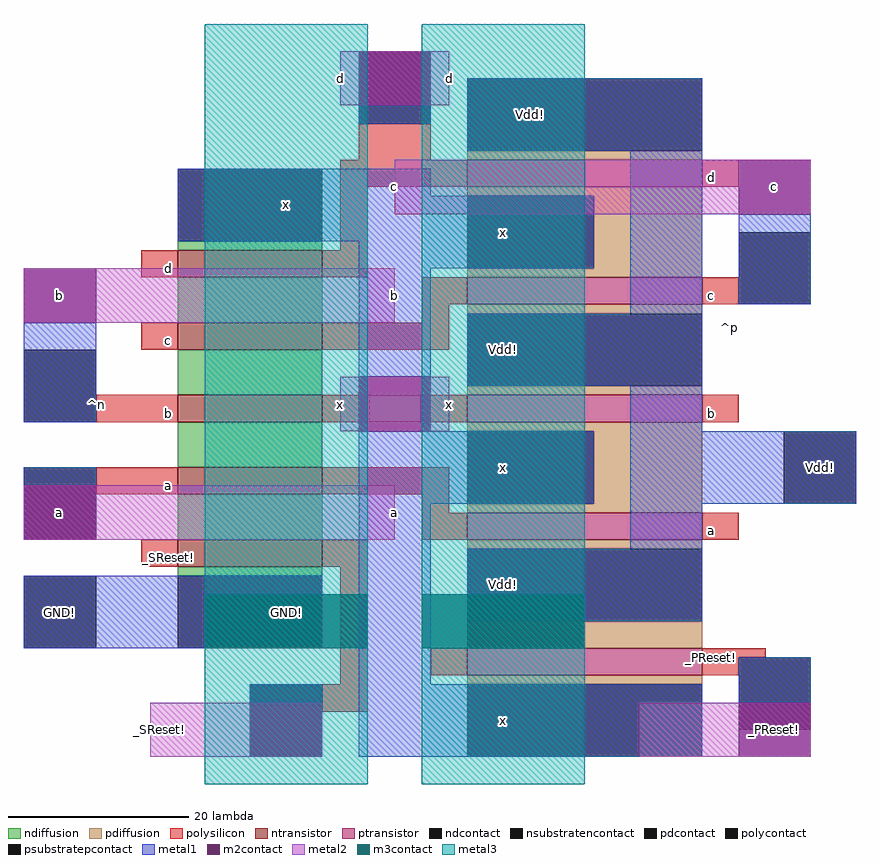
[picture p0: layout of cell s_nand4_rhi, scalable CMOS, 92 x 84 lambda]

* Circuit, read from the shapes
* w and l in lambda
.subckt s_nand4_rhi GND! Vdd! _PReset! _SReset! a b c d x
M1 n1 _SReset! GND! GND! nfet w=16 l=3
M2 n2 a n1 GND! nfet w=16 l=3
M3 n3 b n2 GND! nfet w=16 l=3
M4 n4 c n3 GND! nfet w=16 l=3
M5 x d n4 GND! nfet w=16 l=3
M6 Vdd! _PReset! x Vdd! pfet w=26 l=3
M7 x a Vdd! Vdd! pfet w=26 l=3
M8 Vdd! b x Vdd! pfet w=26 l=3
M9 x c Vdd! Vdd! pfet w=26 l=3
M10 Vdd! d x Vdd! pfet w=26 l=3
.ends

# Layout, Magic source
magic
tech scmos
<< ndiffusion >>
rect -24 76 -8 77
rect -24 68 -8 73
rect -24 60 -8 65
rect -24 52 -8 57
rect -24 44 -8 49
rect -24 40 -8 41
<< pdiffusion >>
rect 8 86 34 87
rect 8 82 34 83
rect 22 74 34 82
rect 8 73 34 74
rect 8 69 34 70
rect 8 60 34 61
rect 8 56 34 57
rect 22 48 34 56
rect 8 47 34 48
rect 8 43 34 44
rect 8 32 34 35
rect 8 28 34 29
<< ntransistor >>
rect -24 73 -8 76
rect -24 65 -8 68
rect -24 57 -8 60
rect -24 49 -8 52
rect -24 41 -8 44
<< ptransistor >>
rect 8 83 34 86
rect 8 70 34 73
rect 8 57 34 60
rect 8 44 34 47
rect 8 29 34 32
<< polysilicon >>
rect -4 86 4 90
rect -6 83 8 86
rect 34 83 38 86
rect -6 76 -3 83
rect -28 73 -24 76
rect -8 73 -3 76
rect 3 70 8 73
rect 34 70 38 73
rect 3 68 6 70
rect -28 65 -24 68
rect -8 65 6 68
rect -33 57 -24 60
rect -8 57 8 60
rect 34 57 38 60
rect -33 49 -24 52
rect -8 49 6 52
rect 3 47 6 49
rect 3 44 8 47
rect 34 44 38 47
rect -28 41 -24 44
rect -8 41 -3 44
rect -6 28 -3 41
rect 4 29 8 32
rect 34 31 41 32
rect 34 29 38 31
rect -8 25 -3 28
<< ndcontact >>
rect -24 77 -8 85
rect -24 32 -8 40
<< pdcontact >>
rect 8 87 34 95
rect 8 74 22 82
rect 8 61 34 69
rect 8 48 22 56
rect 8 35 34 43
rect 8 20 34 28
<< psubstratepcontact >>
rect -41 32 -33 40
<< nsubstratencontact >>
rect 43 48 51 56
<< polycontact >>
rect -4 90 4 98
rect 38 70 46 78
rect -41 57 -33 65
rect -41 44 -33 52
rect -16 20 -8 28
rect 38 23 46 31
<< metal1 >>
rect -4 90 4 92
rect 8 87 34 95
rect -24 82 4 85
rect -24 77 22 82
rect -4 74 22 77
rect -41 57 -33 68
rect -4 62 4 74
rect 26 69 34 87
rect 38 70 46 80
rect 8 61 34 69
rect 26 56 34 61
rect -41 50 -33 52
rect -4 48 22 56
rect 26 48 51 56
rect -41 38 -8 40
rect -41 32 -21 38
rect -4 28 4 48
rect 26 43 34 48
rect 8 38 34 43
rect 21 35 34 38
rect -16 26 -8 28
rect -4 20 34 28
rect 38 26 46 31
<< m2contact >>
rect -4 92 4 98
rect -41 68 -33 74
rect 38 80 46 86
rect -4 56 4 62
rect -41 44 -33 50
rect -21 32 -8 38
rect 8 32 21 38
rect -16 20 -8 26
rect 38 20 46 26
<< metal2 >>
rect -6 92 6 98
rect 0 80 46 86
rect -41 68 0 74
rect -6 56 6 62
rect -41 44 0 50
rect -27 20 -8 26
rect 27 20 46 26
<< m3contact >>
rect -21 32 -3 38
rect 3 32 21 38
<< metal3 >>
rect -21 17 -3 101
rect 3 17 21 101
<< labels >>
rlabel metal1 12 24 12 24 1 x
rlabel metal1 -12 81 -12 81 1 x
rlabel metal1 12 52 12 52 1 x
rlabel metal1 12 78 12 78 5 x
rlabel m2contact -12 36 -12 36 1 GND!
rlabel metal1 12 39 12 39 1 Vdd!
rlabel metal1 12 65 12 65 5 Vdd!
rlabel polysilicon -25 50 -25 50 3 a
rlabel polysilicon -25 58 -25 58 3 b
rlabel polysilicon -25 66 -25 66 3 c
rlabel polysilicon -25 74 -25 74 3 d
rlabel polysilicon -25 42 -25 42 3 _SReset!
rlabel space -42 31 -24 87 7 ^n
rlabel metal1 15 91 15 91 1 Vdd!
rlabel polysilicon 35 31 35 31 1 _PReset!
rlabel polysilicon 35 58 35 58 1 b
rlabel polysilicon 35 45 35 45 1 a
rlabel polysilicon 35 71 35 71 1 c
rlabel polysilicon 35 84 35 84 1 d
rlabel metal2 42 23 42 23 1 _PReset!
rlabel metal2 0 44 0 50 7 a
rlabel metal2 -6 92 -6 98 3 d
rlabel metal2 6 92 6 98 7 d
rlabel metal2 0 80 0 86 3 c
rlabel metal2 0 68 0 74 7 b
rlabel metal2 -6 56 -6 62 3 x
rlabel metal2 6 56 6 62 7 x
rlabel metal2 -26 23 -26 23 1 _SReset!
rlabel metal1 -37 36 -37 36 3 GND!
rlabel metal1 47 52 47 52 7 Vdd!
rlabel space 22 39 52 96 3 ^p
rlabel metal2 -37 71 -37 71 3 b
rlabel metal2 -37 47 -37 47 3 a
rlabel metal2 42 83 42 83 1 c
<< end >>
